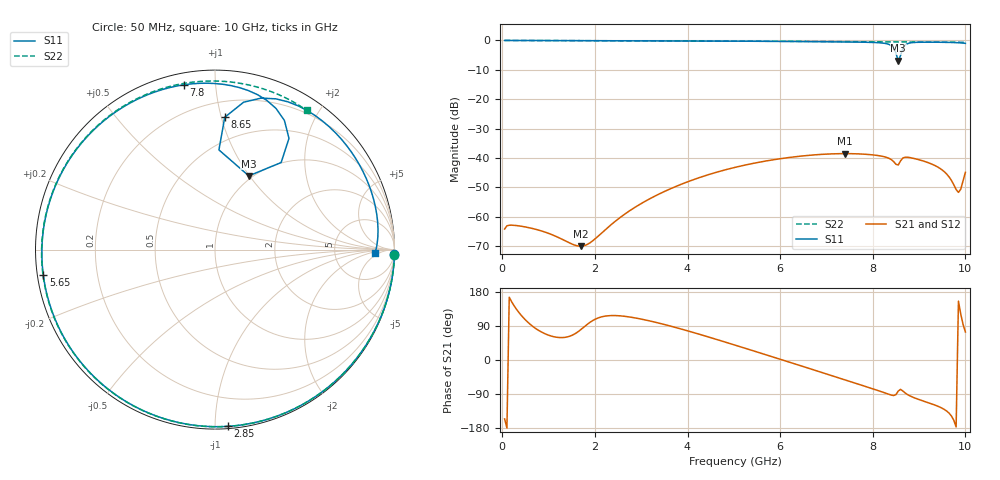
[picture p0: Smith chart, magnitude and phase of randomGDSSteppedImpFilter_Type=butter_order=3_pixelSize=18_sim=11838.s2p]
! freq	dB(S11)	phase(S11)	dB(S12)	phase(S12)
!  dB(S21)	phase(S21)	dB(S22)	phase(S22)
!S-par simulation data
#  GHz  S  DB  R 50
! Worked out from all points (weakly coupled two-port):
!   200 points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, 50 MHz to 10 GHz, reference 50 ohm
!   highest |S21| = -38.51 dB at 7.4 GHz (marker M1); lowest = -70.0 dB at 1.7 GHz (marker M2)
!   lowest |S11| = -6.9 dB at 8.55 GHz (marker M3), VSWR 2.65, Z = 48.1 + j49.6 ohm
!   |S11| at or under -10 dB: nowhere
!   |S22| runs from -0.6 to 0.0 dB; largest |S21 - S12| = 0
!   S11 on the Smith chart (normalised r, x): 50 MHz: 0, -74; 2.85 GHz: 0.01, -1.07; 5.65 GHz: 0.02, -0.07; 7.8 GHz: 0.06, +0.83; 8.65 GHz: 0.32, +1.03; 10 GHz: 17, -3
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0.05  -0.00 -1.6  -64.18 -155.5  -64.18 -155.5  -0.00 -1.6
0.6  -0.02 -18.5  -63.80 94.5  -63.80 94.5  -0.02 -19.2
1.7  -0.07 -51.9  -70.00 80.6  -70.00 80.6  -0.07 -53.3
1.75  -0.07 -53.4  -69.90 85.6  -69.90 85.6  -0.07 -54.8
2.85  -0.11 -85.9  -56.93 111.5  -56.93 111.5  -0.11 -86.9
3.4  -0.14 -102.0  -52.15 96.8  -52.15 96.8  -0.13 -102.2
4.2  -0.18 -125.7  -46.97 70.0  -46.97 70.0  -0.17 -123.9
5.05  -0.24 -151.9  -43.09 38.4  -43.09 38.4  -0.21 -146.4
5.65  -0.29 -171.6  -41.14 15.5  -41.14 15.5  -0.25 -162.5
6.7  -0.40 149.9  -38.98 -25.1  -38.98 -25.1  -0.33 168.5
7.4  -0.50 120.0  -38.51 -52.5  -38.51 -52.5  -0.39 147.7
7.8  -0.59 100.7  -38.68 -68.2  -38.68 -68.2  -0.43 135.2
8.35  -1.34 66.6  -40.11 -90.6  -40.11 -90.6  -0.48 117.1
8.45  -2.57 56.4  -41.20 -93.7  -41.20 -93.7  -0.49 113.7
8.55  -6.90 65.4  -42.38 -82.0  -42.38 -82.0  -0.49 110.2
8.6  -5.10 87.7  -40.97 -77.5  -40.97 -77.5  -0.50 108.5
8.65  -2.62 85.8  -39.99 -81.9  -39.99 -81.9  -0.50 106.7
8.8  -0.86 68.0  -39.85 -94.6  -39.85 -94.6  -0.52 101.4
9.1  -0.59 47.0  -41.06 -108.6  -41.06 -108.6  -0.54 90.6
9.55  -0.63 22.5  -44.74 -130.9  -44.74 -130.9  -0.58 73.8
9.85  -0.77 6.9  -51.70 155.3  -51.70 155.3  -0.62 62.3
10  -0.99 -1.2  -44.89 73.9  -44.89 73.9  -0.64 56.6
